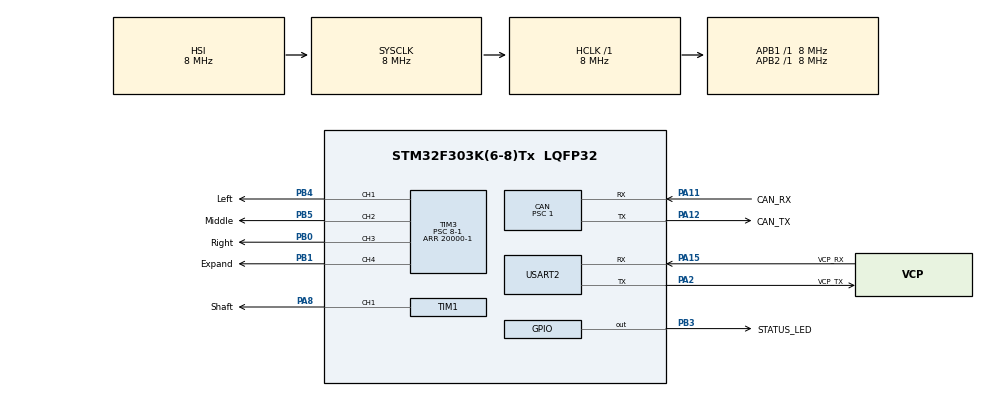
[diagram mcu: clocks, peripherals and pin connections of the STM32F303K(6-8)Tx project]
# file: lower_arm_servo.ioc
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CAN.BS1=CAN_BS1_6TQ
CAN.CalculateBaudRate=1000000
CAN.CalculateTimeBit=1000
CAN.CalculateTimeQuantum=125.0
CAN.Prescaler=1
Mcu.Family=STM32F3
Mcu.Name=STM32F303K(6-8)Tx
Mcu.Package=LQFP32
NVIC.CAN_RX0_IRQn=true\:0\:0\:false\:false\:true\:true\:true\:true
NVIC.PriorityGroup=NVIC_PRIORITYGROUP_4
PA11.GPIO_Label=CAN_RX
PA11.Mode=CAN_Activate
PA11.Signal=CAN_RX
PA12.GPIO_Label=CAN_TX
PA12.Mode=CAN_Activate
PA12.Signal=CAN_TX
PA13.GPIO_Label=SWDIO
PA13.Mode=Serial_Wire
PA13.Signal=SYS_JTMS-SWDIO
PA14.GPIO_Label=SWCLK
PA14.Mode=Serial_Wire
PA14.Signal=SYS_JTCK-SWCLK
PA15.GPIO_Label=VCP_RX
PA15.Mode=Asynchronous
PA15.Signal=USART2_RX
PA2.GPIO_Label=VCP_TX
PA2.Mode=Asynchronous
PA2.Signal=USART2_TX
PA8.GPIO_Label=Shaft
PA8.Signal=S_TIM1_CH1
PB0.GPIO_Label=Right
PB0.Signal=S_TIM3_CH3
PB1.GPIO_Label=Expand
PB1.Signal=S_TIM3_CH4
PB3.GPIO_Label=STATUS_LED
PB3.Signal=GPIO_Output
PB4.GPIO_Label=Left
PB4.Signal=S_TIM3_CH1
PB5.GPIO_Label=Middle
PB5.Signal=S_TIM3_CH2
PF0\ /\ OSC_IN.GPIO_Label=MCO
PF0\ /\ OSC_IN.Mode=HSE-External-Clock-Source
PF0\ /\ OSC_IN.Signal=RCC_OSC_IN
ProjectManager.HeapSize=0x200
ProjectManager.StackSize=0x400
ProjectManager.TargetToolchain=CMake
RCC.AHBFreq_Value=8000000
RCC.APB1Freq_Value=8000000
RCC.APB2Freq_Value=8000000
RCC.CortexFreq_Value=8000000
RCC.HSE_VALUE=8000000
RCC.HSI_VALUE=8000000
RCC.SYSCLKFreq_VALUE=8000000
SH.S_TIM1_CH1.0=TIM1_CH1,PWM Generation1 CH1
SH.S_TIM3_CH1.0=TIM3_CH1,PWM Generation1 CH1
SH.S_TIM3_CH2.0=TIM3_CH2,PWM Generation2 CH2
SH.S_TIM3_CH3.0=TIM3_CH3,PWM Generation3 CH3
SH.S_TIM3_CH4.0=TIM3_CH4,PWM Generation4 CH4
TIM1.Channel-PWM\ Generation1\ CH1=TIM_CHANNEL_1
TIM1.Period=20000-1
TIM1.Prescaler=8-1
TIM3.Channel-PWM\ Generation1\ CH1=TIM_CHANNEL_1
TIM3.Channel-PWM\ Generation2\ CH2=TIM_CHANNEL_2
TIM3.Channel-PWM\ Generation3\ CH3=TIM_CHANNEL_3
TIM3.Channel-PWM\ Generation4\ CH4=TIM_CHANNEL_4
TIM3.Period=20000-1
TIM3.Prescaler=8-1
TIM3.Pulse-PWM\ Generation1\ CH1=1500
TIM3.Pulse-PWM\ Generation2\ CH2=1500
TIM3.Pulse-PWM\ Generation3\ CH3=1500
TIM3.Pulse-PWM\ Generation4\ CH4=1500
USART2.VirtualMode-Asynchronous=VM_ASYNC
VP_TIM1_VS_ClockSourceINT.Mode=Internal
VP_TIM3_VS_ClockSourceINT.Mode=Internal
board=NUCLEO-F303K8

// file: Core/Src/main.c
/* USER CODE BEGIN Header */
/**
  ******************************************************************************
  * @file           : main.c
  * @brief          : Main program body
  ******************************************************************************
  * @attention
  *
  * Copyright (c) 2026 STMicroelectronics.
  * All rights reserved.
  *
  * This software is licensed under terms that can be found in the LICENSE file
  * in the root directory of this software component.
  * If no LICENSE file comes with this software, it is provided AS-IS.
  *
  ******************************************************************************
  */
/* USER CODE END Header */
#include "main.h"

/* USER CODE BEGIN Includes */
#include "can_protocol.h"
#include "coordinate.h"
#include "arm.h"
#include "stm_can.h"
#include <math.h>
#include <stdbool.h>
/* USER CODE END Includes */

/* USER CODE BEGIN PD */
#define SERVO_0   500
#define SERVO_270 2500
// Left/Middle/Rightハンドの中間角度(HAND_STATE_HOLD/HAND_STATE_CATCH)のパルス幅
// SERVO_0(0度)~SERVO_270(270度)を基準に角度から線形補間する
#define SERVO_45  833
#define SERVO_225 2167

#define SERVO_150 1622
#define SERVO_120 1388

// ROBOT_TEAM(出場チーム 青/赤)はcommon/arm/inc/arm.hで定義される。
// ESP32/STM32の全ファームウェアで共有する値なので，このファイルでは再定義しない。
// (競技開始前に決定した後は変更しない。緊急停止スイッチが押されるとESP32/STM32の
//  各基板は再起動するため，実行時にトグルする方式では状態を保持できない。そのため，
//  チームに応じてarm.h側の値を書き換えてビルド・書き込みすることで固定する。)

// Status_LEDでLeft->Middle->Right->Expandの順に各chの状態を点滅回数で表示する
// 長いマーカー点灯(周期の開始) -> 各chごとに短い点滅(ON:2回 OFF:1回) -> 一定時間消灯 の繰り返し
#define STATUS_LED_MARKER_MS     1000 //周期の始まりを示す長い点灯
#define STATUS_LED_BLINK_MS      100  //1回分の点滅の点灯時間
#define STATUS_LED_INTRA_GAP_MS  100  //ONの2回点滅の間の消灯時間
#define STATUS_LED_CHANNEL_GAP_MS 700 //ch同士の間，およびマーカー直後の消灯時間(繋がって見えないように)
#define STATUS_LED_END_PAUSE_MS  1200 //4ch分表示し終えてから次のマーカーまでの消灯時間
#define LOOP_MS 2
/* USER CODE END PD */

CAN_HandleTypeDef hcan;

TIM_HandleTypeDef htim1;
TIM_HandleTypeDef htim3;

UART_HandleTypeDef huart2;

/* USER CODE BEGIN PV */
CAN_RxHeaderTypeDef rx_header;
can_data_t rx_data = {0};

// 現在のLeft/Middle/Rightの状態(hand_state_t)とExpandの状態(true=ON)．Status_LEDの点滅表示に使う
hand_state_t lower_arm_left, lower_arm_middle, lower_arm_right;
bool lower_arm_expand;

typedef enum{
  STATUS_LED_STATE_MARKER,          //周期開始の長い点灯
  STATUS_LED_STATE_CHANNEL_GAP,     //ch移行時(マーカー直後含む)の消灯
  STATUS_LED_STATE_BLINK_ON,        //点滅の点灯中
  STATUS_LED_STATE_BLINK_GAP,       //点滅の点灯の間，または最後の点滅後の消灯
  STATUS_LED_STATE_END_PAUSE,       //4ch分表示し終えた後の消灯
}status_led_state_t;

status_led_state_t status_led_state;
uint32_t status_led_phase_start;
uint8_t status_led_channel_index;     //現在表示中のch(0:Left 1:Middle 2:Right 3:Expand)
uint8_t status_led_blinks_remaining;  //現在のchで残っている点滅回数

/* USER CODE END PV */

void SystemClock_Config(void);
static void MX_GPIO_Init(void);
static void MX_USART2_UART_Init(void);
static void MX_CAN_Init(void);
static void MX_TIM1_Init(void);
static void MX_TIM3_Init(void);

/* USER CODE BEGIN 0 */

/**
* @brief 座標から，Shaftサーボの目標角度(度，0~270度のうちSERVO角度と対応する値)を計算する．
*        (upper_arm_servoのshaft_deg_from_arm_deg()と同じ考え方。そちらも参照)
*
*        Shaftは可動範囲270度のうち中央の180度(45~225度)だけを通常使用域とし，アームの
*        可動域(LOWER_ARM_DEG_MIN~LOWER_ARM_DEG_MIN+LOWER_ARM_DEG_RANGE)の中央
*        (=アームが真上向きの位置，偏角90度)がShaft使用域の中央(135度)に一致するよう，
*        偏角にオフセットを足すだけの単純な線形対応にする。
*
*        LOWER_ARM_DEG_MINは0度で，かつto_polar()の値域[0,2π)の境界と重ならないため，
*        upper_arm_servoと違い0度付近のラップ補正は不要。
*
*        赤チームのホーミング原点(LOWER_ARM_DEG_MIN=0度)ではSERVO_45，
*        青チームのホーミング原点(LOWER_ARM_DEG_MIN+RANGE=180度)ではSERVO_225になる。
*/
static double shaft_deg_from_arm_deg(direct_t direct){
  double deg = to_polar(direct).theta / (2 * M_PI) * 360.0;
  // アーム可動域の中央(真上向き)をShaft使用域の中央(135度)に合わせるオフセット
  return deg - (LOWER_ARM_DEG_MIN + LOWER_ARM_DEG_RANGE / 2.0) + 135.0;
}

/**
* @brief ホーミング原点(LOWER_ARM_HOME_COORDINATE，common/arm/inc/arm.h参照)に対応する
*        Shaftのパルス幅を計算する。
*        ホーミング完了後，ESP32はshaft_rotate/shaft_fineを0にリセットしてから
*        x/yをLOWER_ARM_HOME_COORDINATEにしたCAN_ID_LOWER_ARM_COMMANDを送ってくるため，
*        その時に計算されるパルス幅と同じ値になる(CAN_ID_LOWER_ARM_COMMAND側の計算式参照)。
*        hand_fold()でホーミング開始時点からこの角度にしておくことで，ホーミング完了時に
*        ハンドの向きが変わらないようにする。
*/
static uint32_t shaft_home_pulse(){
  direct_t home = LOWER_ARM_HOME_COORDINATE;
  double shaft_theta = shaft_deg_from_arm_deg(home) * M_PI / 180.0;
  double shaft_pulse = shaft_theta * (SERVO_270 - SERVO_0) / (3 * M_PI_2) + SERVO_0;
  return (uint32_t)shaft_pulse;
}

/**
* @brief ハンドをたたむ
 */
static void hand_fold(){
    __HAL_TIM_SET_COMPARE(&Left_htim,Left_TIM_CHANNEL,SERVO_0);
    __HAL_TIM_SET_COMPARE(&Middle_htim,Middle_TIM_CHANNEL,SERVO_270);
    __HAL_TIM_SET_COMPARE(&Right_htim,Right_TIM_CHANNEL,SERVO_270);
    __HAL_TIM_SET_COMPARE(&Expand_htim,Expand_TIM_CHANNEL,SERVO_270);
    // Shaft(ハンドの向き)は，たたんだ状態にはせずホーミング原点の向きのままにしておく
    __HAL_TIM_SET_COMPARE(&Shaft_htim,Shaft_TIM_CHANNEL,shaft_home_pulse());
}

/**
* @brief 計算したパルス幅を可動域(SERVO_0~SERVO_270)にクランプする．
*        Shaftはshaft_rotate/shaft_fineの加算で可動域を超えることがあるため，
*        クランプした分だけ回転(または微調整)が適用されないことを許容する。
*/
static uint32_t clamp_servo_pulse(double pulse){
  if(pulse < SERVO_0)return SERVO_0;
  if(pulse > SERVO_270)return SERVO_270;
  return (uint32_t)pulse;
}

/**
* @brief hand_state_t(RELEASE/HOLD/CATCH)を対応するサーボのパルス幅に変換する．
*        LeftとMiddle/Rightはサーボの取り付け向きが逆なので，同じ状態でもパルス幅が
*        異なる。どのハンドの状態かをポインタの一致で判別して振り分ける。
*/
static uint32_t hand_state_to_pulse(hand_state_t *state){
  if(state == NULL)return 0;
  if(state == &lower_arm_left){
    switch(*state){
      case HAND_STATE_HOLD:  return SERVO_45;
      case HAND_STATE_CATCH: return SERVO_150;
      case HAND_STATE_RELEASE:
      default:                return SERVO_0;
    }
  }else{
    switch(*state){
      case HAND_STATE_HOLD:  return SERVO_225;
      case HAND_STATE_CATCH: return SERVO_120;
      case HAND_STATE_RELEASE:
      default:                return SERVO_270;
    }
  }

}

void HAL_CAN_RxFifo0MsgPendingCallback(CAN_HandleTypeDef *hcan){
  if(hcan->Instance != CAN)return;
  if(HAL_CAN_GetRxMessage(hcan,CAN_RX_FIFO0,&rx_header,rx_data.raw) != HAL_OK)return;

  switch (rx_header.StdId) {
  case CAN_ID_LOWER_ARM_COMMAND:
    lower_arm_left   = (hand_state_t)rx_data.lower_arm.left;
    lower_arm_middle = (hand_state_t)rx_data.lower_arm.middle;
    lower_arm_right  = (hand_state_t)rx_data.lower_arm.right;
    lower_arm_expand = rx_data.lower_arm.expand;

    __HAL_TIM_SET_COMPARE(&Left_htim,Left_TIM_CHANNEL,hand_state_to_pulse(&lower_arm_left));
    __HAL_TIM_SET_COMPARE(&Middle_htim,Middle_TIM_CHANNEL,hand_state_to_pulse(&lower_arm_middle));
    __HAL_TIM_SET_COMPARE(&Right_htim,Right_TIM_CHANNEL,hand_state_to_pulse(&lower_arm_right));
    if(rx_data.lower_arm.expand){__HAL_TIM_SET_COMPARE(&Expand_htim,Expand_TIM_CHANNEL,SERVO_0);}else{__HAL_TIM_SET_COMPARE(&Expand_htim,Expand_TIM_CHANNEL,SERVO_270);}
    direct_t direct = {.x = rx_data.lower_arm.x, .y = rx_data.lower_arm.y};
    // アームの偏角を，真上向き(90度)がShaft135度になるようオフセットした角度にする
    // (shaft_deg_from_arm_deg()参照)。
    double shaft_theta = shaft_deg_from_arm_deg(direct) * M_PI / 180.0;
    // shaft_rotate=1のとき，アーム軸の回転によらずハンドの向きを180度回転させる。
    // 270度サーボのうち普段使うのは可動範囲分の180度だけなので，回転方向側の残り90度分の
    // 余裕を超える(=可動範囲の反対側まで回転しきれない)場合は，下のclamp_servo_pulse()で
    // パルス幅がクランプされ，それ以上は回転しない(毎回サーボを取り替える運用はしない)。
    // 整理機構は赤/青チームで左右逆側に取り付けるため(arm.h参照)，余裕が生まれる側(=回転
    // させる方向)もチームで逆になる。青は+M_PI(高いパルス側に余裕)，赤は-M_PI(低いパルス側に
    // 余裕)とする。
#if ROBOT_TEAM == ROBOT_TEAM_BLUE
    if(rx_data.lower_arm.shaft_rotate){shaft_theta += M_PI;}
#else
    if(rx_data.lower_arm.shaft_rotate){shaft_theta -= M_PI;}
#endif
    // シャフト角度の微調整(度)。L/Rの押しっぱなしでESP32側が加減算した値をそのまま加える
    shaft_theta += rx_data.lower_arm.shaft_fine * M_PI / 180.0;
    double shaft_pulse = shaft_theta * (SERVO_270 - SERVO_0) / (3 * M_PI_2) + SERVO_0;
    __HAL_TIM_SET_COMPARE(&Shaft_htim,Shaft_TIM_CHANNEL,clamp_servo_pulse(shaft_pulse));
    break;

  case CAN_ID_LOWER_HOMING:
    lower_arm_left = HAND_STATE_RELEASE;
    lower_arm_middle = HAND_STATE_RELEASE;
    lower_arm_right = HAND_STATE_RELEASE;
    lower_arm_expand = false;

    hand_fold();
    break;

  default:
    break;
  }
}

/**
* @brief chのindex(0:Left 1:Middle 2:Right 3:Expand)から現在の状態(true=ON)を返す．
*        Left/Middle/RightはHAND_STATE_RELEASE以外(HOLD/CATCH)であればONとして扱う．
*/
static bool status_led_channel_value(uint8_t channel_index){
  switch(channel_index){
    case 0: return lower_arm_left   != HAND_STATE_RELEASE;
    case 1: return lower_arm_middle != HAND_STATE_RELEASE;
    case 2: return lower_arm_right  != HAND_STATE_RELEASE;
    default: return lower_arm_expand;
  }
}

/**
* @brief Status_LEDに，先頭の長いマーカー点灯に続けてLeft->Middle->Right->Expandの
*        順で各chの状態を点滅回数で表示する．ONは2回，OFFは1回の短い点滅．
*        ch同士の間には必ず消灯を挟むので，何回点滅したかを数えればON/OFFが分かる．
*        4ch分表示し終えたら一定時間消灯してから，再びマーカーに戻る．
*        周期的(mainループ毎)に呼び出すこと．
*/
void status_led_update(){
  uint32_t now = HAL_GetTick();
  uint32_t elapsed = now - status_led_phase_start;

  switch(status_led_state){
  case STATUS_LED_STATE_MARKER:
    if(elapsed >= STATUS_LED_MARKER_MS){
      status_led_state = STATUS_LED_STATE_CHANNEL_GAP;
      status_led_channel_index = 0;
      status_led_phase_start = now;
    }
    break;

  case STATUS_LED_STATE_CHANNEL_GAP:
    if(elapsed >= STATUS_LED_CHANNEL_GAP_MS){
      status_led_blinks_remaining = status_led_channel_value(status_led_channel_index) ? 2 : 1;
      status_led_state = STATUS_LED_STATE_BLINK_ON;
      status_led_phase_start = now;
    }
    break;

  case STATUS_LED_STATE_BLINK_ON:
    if(elapsed >= STATUS_LED_BLINK_MS){
      status_led_blinks_remaining--;
      status_led_state = STATUS_LED_STATE_BLINK_GAP;
      status_led_phase_start = now;
    }
    break;

  case STATUS_LED_STATE_BLINK_GAP:
    if(status_led_blinks_remaining > 0){
      // 同じchの2回目の点滅がまだ残っている
      if(elapsed >= STATUS_LED_INTRA_GAP_MS){
        status_led_state = STATUS_LED_STATE_BLINK_ON;
        status_led_phase_start = now;
      }
    }else{
      // このchの表示は終わり
      if(elapsed >= STATUS_LED_CHANNEL_GAP_MS){
        status_led_channel_index++;
        status_led_phase_start = now;
        if(status_led_channel_index >= 4){
          status_led_state = STATUS_LED_STATE_END_PAUSE;
        }else{
          status_led_blinks_remaining = status_led_channel_value(status_led_channel_index) ? 2 : 1;
          status_led_state = STATUS_LED_STATE_BLINK_ON;
        }
      }
    }
    break;

  case STATUS_LED_STATE_END_PAUSE:
    if(elapsed >= STATUS_LED_END_PAUSE_MS){
      status_led_state = STATUS_LED_STATE_MARKER;
      status_led_phase_start = now;
    }
    break;
  }

  bool on = (status_led_state == STATUS_LED_STATE_MARKER) ||
            (status_led_state == STATUS_LED_STATE_BLINK_ON);
  HAL_GPIO_WritePin(
    STATUS_LED_GPIO_Port,
    STATUS_LED_Pin,
    on ? GPIO_PIN_SET : GPIO_PIN_RESET
  );
}
/* USER CODE END 0 */

int main(void)
{

  /* MCU Configuration--------------------------------------------------------*/

  /* Reset of all peripherals, Initializes the Flash interface and the Systick. */
  HAL_Init();

  /* Configure the system clock */
  SystemClock_Config();

  /* Initialize all configured peripherals */
  MX_GPIO_Init();
  MX_USART2_UART_Init();
  MX_CAN_Init();
  MX_TIM1_Init();
  MX_TIM3_Init();
  /* USER CODE BEGIN 2 */

  HAL_TIM_PWM_Start(&htim3, Left_TIM_CHANNEL);
  HAL_TIM_PWM_Start(&htim3, Middle_TIM_CHANNEL);
  HAL_TIM_PWM_Start(&htim3, Right_TIM_CHANNEL);
  HAL_TIM_PWM_Start(&htim3, Expand_TIM_CHANNEL);

  HAL_TIM_PWM_Start(&htim1, Shaft_TIM_CHANNEL);

  hand_fold();
  HAL_CAN_Start(&hcan);
  if (HAL_CAN_ActivateNotification(&hcan,CAN_IT_RX_FIFO0_MSG_PENDING) != HAL_OK) {
    Error_Handler();
  }
  HAL_GPIO_WritePin(
    STATUS_LED_GPIO_Port,
    STATUS_LED_Pin,
    GPIO_PIN_SET
  );
  /* USER CODE END 2 */

  /* Infinite loop */
  /* USER CODE BEGIN WHILE */
  uint32_t last_heartbeat = HAL_GetTick();
  while (1)
  {
    status_led_update();

    if(HAL_GetTick() - last_heartbeat > HEARTBEAT_MS){
      last_heartbeat = HAL_GetTick();
      stm_can_send(&hcan, &(can_command_data_t){.id = CAN_ID_LOWER_ARM_HEARTBEAT});
    }
    /* USER CODE END WHILE */
    HAL_Delay(LOOP_MS);
  }
}

void SystemClock_Config(void)
{
  RCC_OscInitTypeDef RCC_OscInitStruct = {0};
  RCC_ClkInitTypeDef RCC_ClkInitStruct = {0};
  RCC_PeriphCLKInitTypeDef PeriphClkInit = {0};

  /** Initializes the RCC Oscillators according to the specified parameters
  * in the RCC_OscInitTypeDef structure.
  */
  RCC_OscInitStruct.OscillatorType = RCC_OSCILLATORTYPE_HSI;
  RCC_OscInitStruct.HSIState = RCC_HSI_ON;
  RCC_OscInitStruct.HSICalibrationValue = RCC_HSICALIBRATION_DEFAULT;
  RCC_OscInitStruct.PLL.PLLState = RCC_PLL_NONE;
  if (HAL_RCC_OscConfig(&RCC_OscInitStruct) != HAL_OK)
  {
    Error_Handler();
  }

  /** Initializes the CPU, AHB and APB buses clocks
  */
  RCC_ClkInitStruct.ClockType = RCC_CLOCKTYPE_HCLK|RCC_CLOCKTYPE_SYSCLK
                              |RCC_CLOCKTYPE_PCLK1|RCC_CLOCKTYPE_PCLK2;
  RCC_ClkInitStruct.SYSCLKSource = RCC_SYSCLKSOURCE_HSI;
  RCC_ClkInitStruct.AHBCLKDivider = RCC_SYSCLK_DIV1;
  RCC_ClkInitStruct.APB1CLKDivider = RCC_HCLK_DIV1;
  RCC_ClkInitStruct.APB2CLKDivider = RCC_HCLK_DIV1;

  if (HAL_RCC_ClockConfig(&RCC_ClkInitStruct, FLASH_LATENCY_0) != HAL_OK)
  {
    Error_Handler();
  }
  PeriphClkInit.PeriphClockSelection = RCC_PERIPHCLK_TIM1;
  PeriphClkInit.Tim1ClockSelection = RCC_TIM1CLK_HCLK;
  if (HAL_RCCEx_PeriphCLKConfig(&PeriphClkInit) != HAL_OK)
  {
    Error_Handler();
  }
}

static void MX_CAN_Init(void)
{

  hcan.Instance = CAN;
  hcan.Init.Prescaler = 1;
  hcan.Init.Mode = CAN_MODE_NORMAL;
  hcan.Init.SyncJumpWidth = CAN_SJW_1TQ;
  hcan.Init.TimeSeg1 = CAN_BS1_6TQ;
  hcan.Init.TimeSeg2 = CAN_BS2_1TQ;
  hcan.Init.TimeTriggeredMode = DISABLE;
  hcan.Init.AutoBusOff = DISABLE;
  hcan.Init.AutoWakeUp = DISABLE;
  hcan.Init.AutoRetransmission = DISABLE;
  hcan.Init.ReceiveFifoLocked = DISABLE;
  hcan.Init.TransmitFifoPriority = DISABLE;
  if (HAL_CAN_Init(&hcan) != HAL_OK)
  {
    Error_Handler();
  }
  /* USER CODE BEGIN CAN_Init 2 */
  /* can_rx setting */
  CAN_FilterTypeDef filter;

  filter.FilterBank = 0;
  filter.FilterMode = CAN_FILTERMODE_IDMASK;
  filter.FilterScale = CAN_FILTERSCALE_32BIT;

  /* 受信IDフィルター　全受信 */
  filter.FilterIdHigh = 0x0000;
  filter.FilterIdLow = 0x0000;
  filter.FilterMaskIdHigh = 0x0000;
  filter.FilterMaskIdLow = 0x0000;

  filter.FilterFIFOAssignment = CAN_RX_FIFO0; //fifo(first-in first-out) = Queue
  filter.FilterActivation = ENABLE;

  if (HAL_CAN_ConfigFilter(&hcan, &filter) != HAL_OK) {
      Error_Handler();
  }
  /* can_rx setting */
  /* USER CODE END CAN_Init 2 */

}

static void MX_TIM1_Init(void)
{

  TIM_ClockConfigTypeDef sClockSourceConfig = {0};
  TIM_MasterConfigTypeDef sMasterConfig = {0};
  TIM_OC_InitTypeDef sConfigOC = {0};
  TIM_BreakDeadTimeConfigTypeDef sBreakDeadTimeConfig = {0};

  htim1.Instance = TIM1;
  htim1.Init.Prescaler = 8-1;
  htim1.Init.CounterMode = TIM_COUNTERMODE_UP;
  htim1.Init.Period = 20000-1;
  htim1.Init.ClockDivision = TIM_CLOCKDIVISION_DIV1;
  htim1.Init.RepetitionCounter = 0;
  htim1.Init.AutoReloadPreload = TIM_AUTORELOAD_PRELOAD_DISABLE;
  if (HAL_TIM_Base_Init(&htim1) != HAL_OK)
  {
    Error_Handler();
  }
  sClockSourceConfig.ClockSource = TIM_CLOCKSOURCE_INTERNAL;
  if (HAL_TIM_ConfigClockSource(&htim1, &sClockSourceConfig) != HAL_OK)
  {
    Error_Handler();
  }
  if (HAL_TIM_PWM_Init(&htim1) != HAL_OK)
  {
    Error_Handler();
  }
  sMasterConfig.MasterOutputTrigger = TIM_TRGO_RESET;
  sMasterConfig.MasterOutputTrigger2 = TIM_TRGO2_RESET;
  sMasterConfig.MasterSlaveMode = TIM_MASTERSLAVEMODE_DISABLE;
  if (HAL_TIMEx_MasterConfigSynchronization(&htim1, &sMasterConfig) != HAL_OK)
  {
    Error_Handler();
  }
  sConfigOC.OCMode = TIM_OCMODE_PWM1;
  sConfigOC.Pulse = 0;
  sConfigOC.OCPolarity = TIM_OCPOLARITY_HIGH;
  sConfigOC.OCNPolarity = TIM_OCNPOLARITY_HIGH;
  sConfigOC.OCFastMode = TIM_OCFAST_DISABLE;
  sConfigOC.OCIdleState = TIM_OCIDLESTATE_RESET;
  sConfigOC.OCNIdleState = TIM_OCNIDLESTATE_RESET;
  if (HAL_TIM_PWM_ConfigChannel(&htim1, &sConfigOC, TIM_CHANNEL_1) != HAL_OK)
  {
    Error_Handler();
  }
  sBreakDeadTimeConfig.OffStateRunMode = TIM_OSSR_DISABLE;
  sBreakDeadTimeConfig.OffStateIDLEMode = TIM_OSSI_DISABLE;
  sBreakDeadTimeConfig.LockLevel = TIM_LOCKLEVEL_OFF;
  sBreakDeadTimeConfig.DeadTime = 0;
  sBreakDeadTimeConfig.BreakState = TIM_BREAK_DISABLE;
  sBreakDeadTimeConfig.BreakPolarity = TIM_BREAKPOLARITY_HIGH;
  sBreakDeadTimeConfig.BreakFilter = 0;
  sBreakDeadTimeConfig.Break2State = TIM_BREAK2_DISABLE;
  sBreakDeadTimeConfig.Break2Polarity = TIM_BREAK2POLARITY_HIGH;
  sBreakDeadTimeConfig.Break2Filter = 0;
  sBreakDeadTimeConfig.AutomaticOutput = TIM_AUTOMATICOUTPUT_DISABLE;
  if (HAL_TIMEx_ConfigBreakDeadTime(&htim1, &sBreakDeadTimeConfig) != HAL_OK)
  {
    Error_Handler();
  }
  HAL_TIM_MspPostInit(&htim1);

}

static void MX_TIM3_Init(void)
{

  TIM_ClockConfigTypeDef sClockSourceConfig = {0};
  TIM_MasterConfigTypeDef sMasterConfig = {0};
  TIM_OC_InitTypeDef sConfigOC = {0};

  htim3.Instance = TIM3;
  htim3.Init.Prescaler = 8-1;
  htim3.Init.CounterMode = TIM_COUNTERMODE_UP;
  htim3.Init.Period = 20000-1;
  htim3.Init.ClockDivision = TIM_CLOCKDIVISION_DIV1;
  htim3.Init.AutoReloadPreload = TIM_AUTORELOAD_PRELOAD_DISABLE;
  if (HAL_TIM_Base_Init(&htim3) != HAL_OK)
  {
    Error_Handler();
  }
  sClockSourceConfig.ClockSource = TIM_CLOCKSOURCE_INTERNAL;
  if (HAL_TIM_ConfigClockSource(&htim3, &sClockSourceConfig) != HAL_OK)
  {
    Error_Handler();
  }
  if (HAL_TIM_PWM_Init(&htim3) != HAL_OK)
  {
    Error_Handler();
  }
  sMasterConfig.MasterOutputTrigger = TIM_TRGO_RESET;
  sMasterConfig.MasterSlaveMode = TIM_MASTERSLAVEMODE_DISABLE;
  if (HAL_TIMEx_MasterConfigSynchronization(&htim3, &sMasterConfig) != HAL_OK)
  {
    Error_Handler();
  }
  sConfigOC.OCMode = TIM_OCMODE_PWM1;
  sConfigOC.Pulse = 1500;
  sConfigOC.OCPolarity = TIM_OCPOLARITY_HIGH;
  sConfigOC.OCFastMode = TIM_OCFAST_DISABLE;
  if (HAL_TIM_PWM_ConfigChannel(&htim3, &sConfigOC, TIM_CHANNEL_1) != HAL_OK)
  {
    Error_Handler();
  }
  if (HAL_TIM_PWM_ConfigChannel(&htim3, &sConfigOC, TIM_CHANNEL_2) != HAL_OK)
  {
    Error_Handler();
  }
  if (HAL_TIM_PWM_ConfigChannel(&htim3, &sConfigOC, TIM_CHANNEL_3) != HAL_OK)
  {
    Error_Handler();
  }
  if (HAL_TIM_PWM_ConfigChannel(&htim3, &sConfigOC, TIM_CHANNEL_4) != HAL_OK)
  {
    Error_Handler();
  }
  HAL_TIM_MspPostInit(&htim3);

}

static void MX_USART2_UART_Init(void)
{

  huart2.Instance = USART2;
  huart2.Init.BaudRate = 38400;
  huart2.Init.WordLength = UART_WORDLENGTH_8B;
  huart2.Init.StopBits = UART_STOPBITS_1;
  huart2.Init.Parity = UART_PARITY_NONE;
  huart2.Init.Mode = UART_MODE_TX_RX;
  huart2.Init.HwFlowCtl = UART_HWCONTROL_NONE;
  huart2.Init.OverSampling = UART_OVERSAMPLING_16;
  huart2.Init.OneBitSampling = UART_ONE_BIT_SAMPLE_DISABLE;
  huart2.AdvancedInit.AdvFeatureInit = UART_ADVFEATURE_NO_INIT;
  if (HAL_UART_Init(&huart2) != HAL_OK)
  {
    Error_Handler();
  }

}

static void MX_GPIO_Init(void)
{
  GPIO_InitTypeDef GPIO_InitStruct = {0};

  /* GPIO Ports Clock Enable */
  __HAL_RCC_GPIOF_CLK_ENABLE();
  __HAL_RCC_GPIOA_CLK_ENABLE();
  __HAL_RCC_GPIOB_CLK_ENABLE();

  /*Configure GPIO pin Output Level */
  HAL_GPIO_WritePin(STATUS_LED_GPIO_Port, STATUS_LED_Pin, GPIO_PIN_RESET);

  /*Configure GPIO pin : STATUS_LED_Pin */
  GPIO_InitStruct.Pin = STATUS_LED_Pin;
  GPIO_InitStruct.Mode = GPIO_MODE_OUTPUT_PP;
  GPIO_InitStruct.Pull = GPIO_NOPULL;
  GPIO_InitStruct.Speed = GPIO_SPEED_FREQ_LOW;
  HAL_GPIO_Init(STATUS_LED_GPIO_Port, &GPIO_InitStruct);

}

void Error_Handler(void)
{
  /* USER CODE BEGIN Error_Handler_Debug */
  /* User can add his own implementation to report the HAL error return state */
  __disable_irq();
  while (1)
  {
    HAL_GPIO_TogglePin(
    STATUS_LED_GPIO_Port,
    STATUS_LED_Pin
    );
    HAL_Delay(1000);
  }
  /* USER CODE END Error_Handler_Debug */
}
